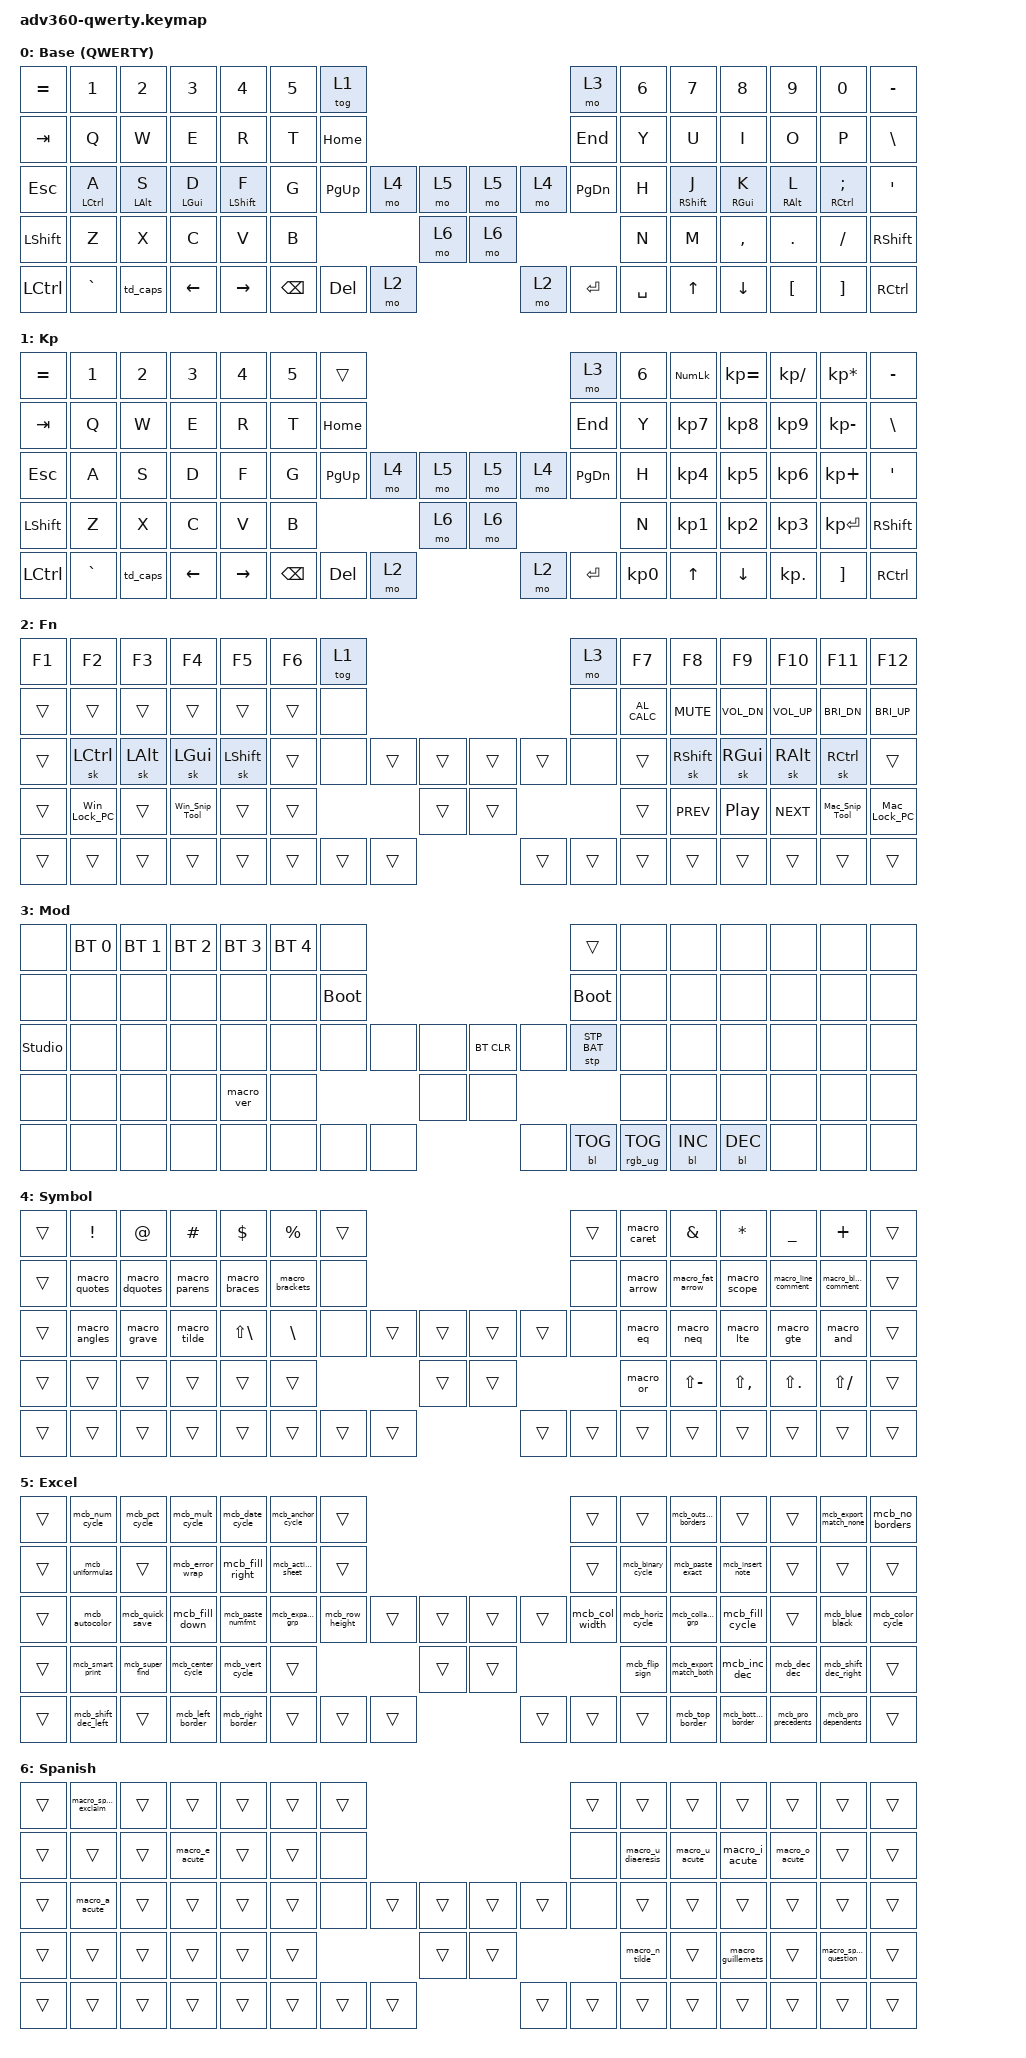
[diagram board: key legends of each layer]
/*
 * Euxener QWERTY base keyboard layout
 * Version 2.0
 */

#include <behaviors.dtsi>
#include <dt-bindings/zmk/keys.h>
#include <dt-bindings/zmk/bt.h>
#include <dt-bindings/zmk/rgb.h>
#include <dt-bindings/zmk/stp.h>
#include <dt-bindings/zmk/backlight.h>
#include <dt-bindings/zmk/pointing.h>

// Key position groups for bilateral mods or home row mods
#define KEYS_L 0 1 2 3 4 5 6 14 15 16 17 18 19 20 28 29 30 31 32 33 34 46 47 48 49 50 51 60 61 62 63 64
#define KEYS_R 7 8 9 10 11 12 13 21 22 23 24 25 26 27 39 40 41 42 43 44 45 54 55 56 57 58 59 71 72 73 74 75
#define THUMBS 35 36 37 38 52 53 65 66 67 68 69 70

/ {
    behaviors {

#include "macros.dtsi"
#include "version.dtsi"

hml: homerow_mods_left {
    compatible = "zmk,behavior-hold-tap";
    #binding-cells = <2>;
    tapping-term-ms = <280>;
    quick-tap-ms = <175>;
    require-prior-idle-ms = <100>;
    flavor = "tap-preferred";
    bindings = <&kp>, <&kp>;
    hold-trigger-key-positions = <KEYS_R THUMBS>;
    hold-trigger-on-release;
};

hmr: homerow_mods_right {
    compatible = "zmk,behavior-hold-tap";
    #binding-cells = <2>;
    tapping-term-ms = <280>;
    quick-tap-ms = <175>;
    require-prior-idle-ms = <100>;
    flavor = "tap-preferred";
    bindings = <&kp>, <&kp>;
    hold-trigger-key-positions = <KEYS_L THUMBS>;
    hold-trigger-on-release;
};

td_caps: tap_dance_caps {
    compatible = "zmk,behavior-tap-dance";
    #binding-cells = <0>;
    tapping-term-ms = <200>;
    bindings = <&none>, <&kp CAPS>;
};
    };

    keymap {
        compatible = "zmk,keymap";

        default_layer {
            display-name = "Base (QWERTY)";
            bindings = <
                &kp EQUAL &kp N1       &kp N2      &kp N3      &kp N4       &kp N5 &tog 1                                                           &mo 3     &kp N6 &kp N7       &kp N8      &kp N9      &kp N0          &kp MINUS
                &kp TAB   &kp Q        &kp W       &kp E       &kp R        &kp T  &kp HOME                                                         &kp END   &kp Y  &kp U        &kp I       &kp O       &kp P           &kp BSLH
                &kp ESC   &hml LCTRL A &hml LALT S &hml LGUI D &hml LSHFT F &kp G  &kp PG_UP               &mo 4   &mo 5 &mo 5 &mo 4                &kp PG_DN &kp H  &hmr RSHFT J &hmr RGUI K &hmr RALT L &hmr RCTRL SEMI &kp SQT
                &kp LSHFT &kp Z        &kp X       &kp C       &kp V        &kp B                                  &mo 6 &mo 6                                &kp N  &kp M        &kp COMMA   &kp DOT     &kp FSLH        &kp RSHFT
                &kp LCTRL &kp GRAVE    &td_caps    &kp LEFT    &kp RIGHT                          &kp BSPC &kp DEL &mo 2 &mo 2 &kp ENTER &kp SPACE                   &kp UP       &kp DOWN    &kp LBKT    &kp RBKT        &kp RCTRL
            >;
        };

        keypad {
            display-name = "Kp";
            bindings = <
                &kp EQUAL &kp N1    &kp N2   &kp N3   &kp N4     &kp N5 &trans                                                       &mo 3     &kp N6 &kp KP_NUM &kp KP_EQUAL &kp KP_DIVIDE &kp KP_MULTIPLY &kp MINUS
                &kp TAB   &kp Q     &kp W    &kp E    &kp R      &kp T  &kp HOME                                                     &kp END   &kp Y  &kp KP_N7  &kp KP_N8    &kp KP_N9     &kp KP_MINUS    &kp BSLH
                &kp ESC   &kp A     &kp S    &kp D    &kp F      &kp G  &kp PG_UP          &mo 4   &mo 5  &mo 5  &mo 4               &kp PG_DN &kp H  &kp KP_N4  &kp KP_N5    &kp KP_N6     &kp KP_PLUS     &kp SQT
                &kp LSHFT &kp Z     &kp X    &kp C    &kp V      &kp B                             &mo 6  &mo 6                                &kp N  &kp KP_N1  &kp KP_N2    &kp KP_N3     &kp KP_ENTER    &kp RSHFT
                &kp LCTRL &kp GRAVE &td_caps &kp LEFT &kp RIGHT                   &kp BSPC &kp DEL &mo 2  &mo 2  &kp ENTER &kp KP_N0                  &kp UP     &kp DOWN     &kp KP_DOT    &kp RBKT        &kp RCTRL
            >;
        };

        fn {
            display-name = "Fn";
            bindings = <
                &kp F1 &kp F2       &kp F3   &kp F4         &kp F5    &kp F6 &tog 1                                                   &mo 3 &kp F7        &kp F8     &kp F9       &kp F10      &kp F11        &kp F12
                &trans &trans       &trans   &trans         &trans    &trans &none                                                    &none &kp C_AL_CALC &kp C_MUTE &kp C_VOL_DN &kp C_VOL_UP &kp C_BRI_DN   &kp C_BRI_UP
                &trans &sk LCTRL    &sk LALT &sk LGUI       &sk LSHFT &trans              &none  &trans &trans &trans &trans          &none &trans        &sk RSHFT  &sk RGUI     &sk RALT     &sk RCTRL      &trans
                &trans &Win_Lock_PC &trans   &Win_Snip_Tool &trans    &trans                            &trans &trans                       &trans        &kp C_PREV &kp C_PP     &kp C_NEXT   &Mac_Snip_Tool &Mac_Lock_PC
                &trans &trans       &trans   &trans         &trans                        &trans &trans &trans &trans &trans &trans                       &trans     &trans       &trans       &trans         &trans
            >;
        };

        mod {
            display-name = "Mod";
            bindings = <
                &none          &bt BT_SEL 0 &bt BT_SEL 1 &bt BT_SEL 2 &bt BT_SEL 3 &bt BT_SEL 4 &none                                                                     &trans       &none &none      &none      &none &none &none
                &none          &none        &none        &none        &none        &none        &bootloader                                                               &bootloader  &none &none      &none      &none &none &none
                &studio_unlock &none        &none        &none        &none        &none        &none                   &none &none &bt BT_CLR &none                      &stp STP_BAT &none &none      &none      &none &none &none
                &none          &none        &none        &none        &macro_ver   &none                                      &none &none                                              &none &none      &none      &none &none &none
                &none          &none        &none        &none        &none                                       &none &none &none &none      &bl BL_TOG &rgb_ug RGB_TOG                    &bl BL_INC &bl BL_DEC &none &none &none
            >;
        };

        symbol {
            display-name = "Symbol";
            bindings = <
                /* Row 0 - same as Colemak version */
                &trans &kp EXCL      &kp AT         &kp HASH      &kp DLLR      &kp PRCNT       &trans                                              &trans &macro_caret &kp AMPS         &kp ASTRK     &kp UNDER           &kp PLUS             &trans
                &trans &macro_quotes &macro_dquotes &macro_parens &macro_braces &macro_brackets &none                                               &none  &macro_arrow &macro_fat_arrow &macro_scope  &macro_line_comment &macro_block_comment &trans
                &trans &macro_angles &macro_grave   &macro_tilde  &kp LS(BSLH)  &kp BSLH        &none           &trans &trans &trans &trans         &none  &macro_eq    &macro_neq       &macro_lte    &macro_gte          &macro_and           &trans
                &trans &trans        &trans         &trans        &trans        &trans                                 &trans &trans                       &macro_or    &kp LS(MINUS)    &kp LS(COMMA) &kp LS(DOT)         &kp LS(FSLH)         &trans
                &trans &trans        &trans         &trans        &trans                                 &trans &trans &trans &trans &trans &trans                      &trans           &trans        &trans              &trans               &trans
            >;
        };

        excel {
            display-name = "Excel";
            bindings = <
                &trans &mcb_num_cycle      &mcb_pct_cycle  &mcb_mult_cycle   &mcb_date_cycle   &mcb_anchor_cycle   &trans                                                    &trans         &trans            &mcb_outside_borders   &trans             &trans              &mcb_export_match_none &mcb_no_borders
                &trans &mcb_uniformulas    &trans          &mcb_error_wrap   &mcb_fill_right   &mcb_activate_sheet &trans                                                    &trans         &mcb_binary_cycle &mcb_paste_exact       &mcb_insert_note   &trans              &trans                 &trans
                &trans &mcb_autocolor      &mcb_quick_save &mcb_fill_down    &mcb_paste_numfmt &mcb_expand_grp     &mcb_row_height        &trans &trans &trans &trans        &mcb_col_width &mcb_horiz_cycle  &mcb_collapse_grp      &mcb_fill_cycle    &trans              &mcb_blue_black        &mcb_color_cycle
                &trans &mcb_smart_print    &mcb_super_find &mcb_center_cycle &mcb_vert_cycle   &trans                                            &trans &trans                              &mcb_flip_sign    &mcb_export_match_both &mcb_inc_dec       &mcb_dec_dec        &mcb_shift_dec_right   &trans
                &trans &mcb_shift_dec_left &trans          &mcb_left_border  &mcb_right_border                                     &trans &trans &trans &trans &trans &trans                                  &mcb_top_border        &mcb_bottom_border &mcb_pro_precedents &mcb_pro_dependents    &trans
            >;
        };

        spanish {
            display-name = "Spanish";
            bindings = <
                &trans &macro_spanish_exclaim &trans &trans         &trans &trans &trans                                             &trans &trans             &trans         &trans            &trans         &trans                  &trans
                &trans &trans                 &trans &macro_e_acute &trans &trans &none                                              &none  &macro_u_diaeresis &macro_u_acute &macro_i_acute    &macro_o_acute &trans                  &trans
                &trans &macro_a_acute         &trans &trans         &trans &trans &none           &trans &trans &trans &trans        &none  &trans             &trans         &trans            &trans         &trans                  &trans
                &trans &trans                 &trans &trans         &trans &trans                        &trans &trans                      &macro_n_tilde     &trans         &macro_guillemets &trans         &macro_spanish_question &trans
                &trans &trans                 &trans &trans         &trans                 &trans &trans &trans &trans &trans &trans                           &trans         &trans            &trans         &trans                  &trans
            >;
        };

        extra4 {
            display-name = "Yellow";
            status = "reserved";
        };
    };
};
